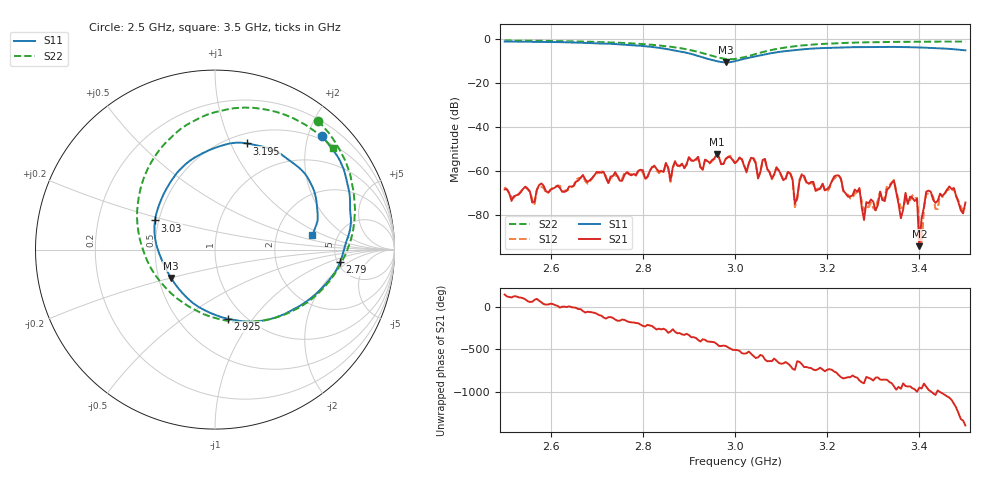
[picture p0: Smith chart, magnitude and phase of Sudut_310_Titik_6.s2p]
# Hz S RI R 50
! CMT, C1220, 16058040, 17.2.0/1
! Date: 15/08/2018 10:20:07
! Data: Format (Calibration Info)
! Freq  S11: Re/Im (F2)  S21: Re/Im (F2)  S12: Re/Im (F2)  S22: Re/Im (F2)
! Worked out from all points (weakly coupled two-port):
!   201 points, 2.5 GHz to 3.5 GHz, reference 50 ohm
!   highest |S21| = -52.52 dB at 2.96 GHz (marker M1); lowest = -94.2 dB at 3.4 GHz (marker M2)
!   lowest |S11| = -10.7 dB at 2.98 GHz (marker M3), VSWR 1.82, Z = 29 - j9.99 ohm
!   |S11| at or under -10 dB: 2.958 GHz to 3.003 GHz (45 MHz wide, 1.51 % of centre)
!   |S22| runs from -9.3 to -0.7 dB; largest |S21 - S12| = 0.00017
!   S11 on the Smith chart (normalised r, x): 2.5 GHz: 0.43, +2.25; 2.79 GHz: 5.29, -1.42; 2.925 GHz: 0.84, -0.77; 3.03 GHz: 0.48, +0.18; 3.195 GHz: 0.60, +1.16; 3.5 GHz: 3.24, +0.74
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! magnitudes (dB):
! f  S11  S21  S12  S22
! 2.5 GHz  -1.2  -68.4  -67.4  -0.7
! 2.565 GHz  -1.3  -74.0  -75.0  -0.9
! 2.67 GHz  -1.8  -61.9  -62.1  -1.2
! 2.79 GHz  -3.1  -59.9  -60.2  -2.2
! 2.835 GHz  -4.1  -60.3  -61.0  -3.0
! 2.925 GHz  -8.1  -58.3  -58.3  -6.2
! 2.96 GHz  -10.1  -52.5  -52.3  -8.3
! 2.98 GHz  -10.7  -54.5  -54.6  -9.1
! 3 GHz  -10.2  -56.5  -56.4  -9.2
! 3.03 GHz  -8.6  -56.5  -56.6  -7.8
! 3.12 GHz  -5.3  -61.3  -61.0  -3.6
! 3.13 GHz  -5.1  -74.9  -76.4  -3.4
! 3.145 GHz  -4.8  -61.9  -61.4  -3.0
! 3.17 GHz  -4.4  -65.0  -66.2  -2.6
! 3.195 GHz  -4.2  -68.9  -68.9  -2.3
! 3.27 GHz  -3.8  -67.8  -68.4  -1.7
! 3.28 GHz  -3.8  -82.3  -78.0  -1.6
! 3.335 GHz  -3.7  -67.5  -66.6  -1.4
! 3.36 GHz  -3.7  -81.5  -77.0  -1.4
! 3.4 GHz  -3.9  -94.2  -84.3  -1.3
! 3.42 GHz  -4.1  -68.9  -70.3  -1.3
! 3.5 GHz  -5.2  -74.4  -77.1  -1.3
